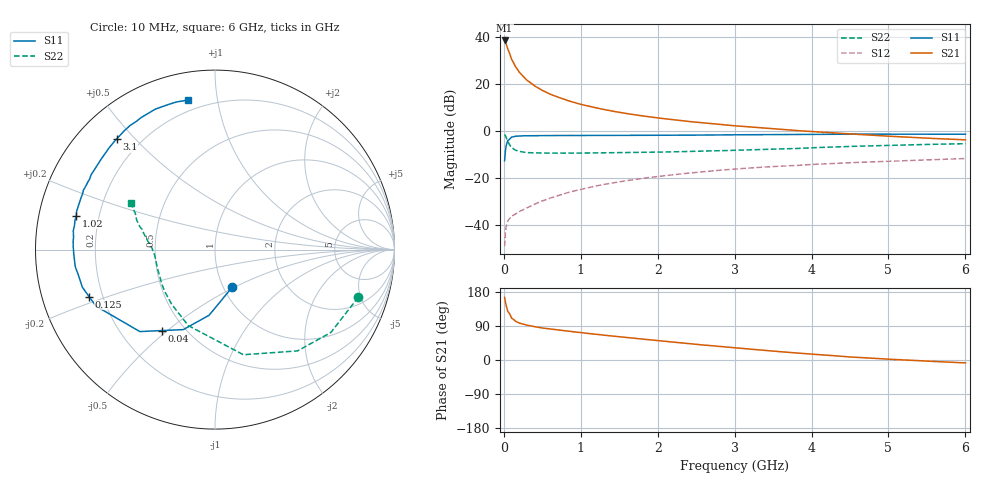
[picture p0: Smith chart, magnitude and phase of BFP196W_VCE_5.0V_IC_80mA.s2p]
! Infineon Technologies  Discrete & RF Semiconductors
! BFP196W
! VCE = 5.0 V,  IC =  80mA
! Common Emitter S-Parameters:  Jan 2016
# GHz  S  MA  R  50
!  f  S11  S21  S12  S22
! GHz  MAG  ANG  MAG  ANG  MAG  ANG  MAG  ANG
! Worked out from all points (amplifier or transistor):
!   210 points, 10 MHz to 6 GHz, reference 50 ohm
!   highest |S21| = 38.5 dB at 10 MHz (marker M1)
!   |S21| within 3 dB of that: start of sweep to 45.02 MHz
!   unconditionally stable (mu >= 1): 514.9 MHz to 3.45 GHz; 3.713 GHz to 3.84 GHz
!   at 185 MHz: K = 0.65, MSG = 30.2 dB, |S12| = -34.7 dB
!   at 1.52 GHz: K = 1.10, MAG = 12.8 dB, |S12| = -21.6 dB
!   at 6 GHz: K = 0.97, MSG = 4.0 dB, |S12| = -11.8 dB
!   S11 on the Smith chart (normalised r, x): 10 MHz: 1.10, -0.49; 40 MHz: 0.38, -0.48; 125 MHz: 0.15, -0.18; 1.02 GHz: 0.12, +0.12; 3.1 GHz: 0.12, +0.44; 6 GHz: 0.14, +0.82
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0.01  0.2303 -65.4  84.02 164.9  0.0035 75.9  0.8417 -18.3
0.02  0.3671 -95.1  79.39 153.8  0.0068 65.6  0.7937 -35.6
0.03  0.4794 -111.6  71.48 143.6  0.009 60.5  0.7281 -50.8
0.04  0.5405 -123.4  63.23 137.0  0.0104 53.4  0.6528 -61.7
0.05  0.6195 -132.5  56.08 128.5  0.012 48.1  0.6067 -74.9
0.1  0.7343 -154.6  33.66 110.7  0.0152 41.7  0.4488 -109.3
0.125  0.7487 -159.5  28.45 107.2  0.016 41.9  0.4133 -118.1
0.15  0.7683 -164.2  23.4 102.1  0.0169 42.0  0.3891 -128.2
0.2  0.7741 -169.4  17.76 97.6  0.019 45.4  0.3654 -139.5
0.26  0.7844 -173.4  13.9 93.8  0.0213 49.3  0.3518 -147.8
0.3  0.7852 -175.5  11.96 91.9  0.0228 50.9  0.3441 -152.2
0.4  0.7887 -179.6  9.026 87.8  0.0274 55.7  0.3389 -158.8
0.5  0.7919 177.3  7.261 84.4  0.0321 58.5  0.3369 -163.4
0.6  0.7911 175.0  6.054 81.7  0.0368 60.7  0.3356 -166.6
0.8  0.7944 170.4  4.569 76.8  0.0471 63.4  0.3346 -170.5
1.02  0.7954 166.2  3.601 71.9  0.0576 63.9  0.3371 -173.5
1.4  0.8004 159.1  2.651 63.4  0.077 63.1  0.3417 -177.1
2.02  0.8061 148.7  1.867 50.8  0.1078 59.1  0.3515 178.5
3.1  0.8247 131.6  1.244 30.6  0.1576 49.2  0.3897 170.2
4.1  0.8437 118.0  0.945 14.1  0.1957 40.4  0.4419 162.5
5.1  0.8493 107.5  0.754 1.2  0.228 32.1  0.4931 155.0
6  0.8465 100.4  0.644 -7.7  0.2568 25.7  0.5321 151.0
